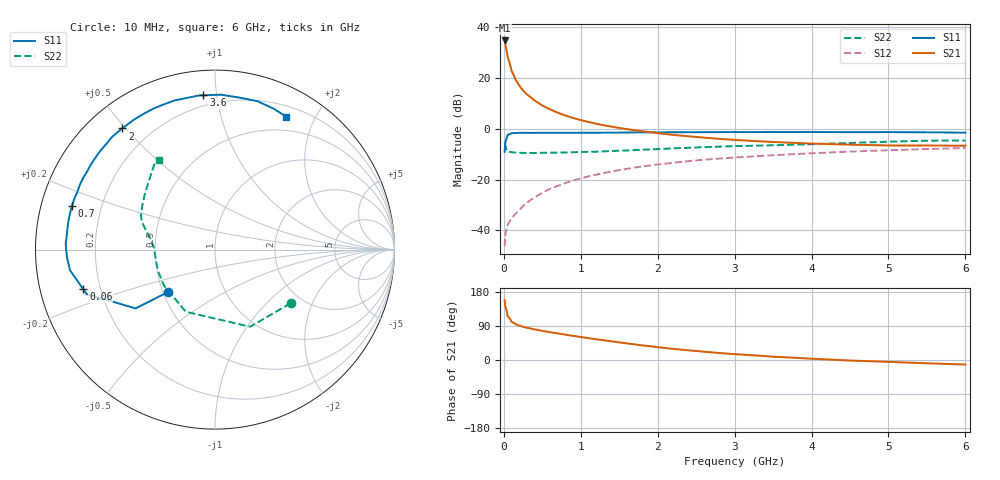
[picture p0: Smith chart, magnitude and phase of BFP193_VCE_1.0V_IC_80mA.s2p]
! Infineon Technologies  Discrete & RF Semiconductors
! BFP193
! VCE =  1.0 V,  IC =  80 mA
! Common Emitter S-Parameters:  Jan 2017
# GHz  S  MA  R  50
!  f  S11  S21  S12  S22
! GHz  MAG  ANG  MAG  ANG  MAG  ANG  MAG  ANG
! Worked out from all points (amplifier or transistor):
!   77 points, 10 MHz to 6 GHz, reference 50 ohm
!   highest |S21| = 34.7 dB at 10 MHz (marker M1)
!   |S21| within 3 dB of that: start of sweep to 29.79 MHz
!   unconditionally stable (mu >= 1): start of sweep to 13.28 MHz; 163.5 MHz to end of sweep
!   at 130 MHz: K = 0.91, MSG = 27.6 dB, |S12| = -34.2 dB
!   at 2.2 GHz: K = 1.09, MAG = 3.7 dB, |S12| = -13.4 dB
!   at 6 GHz: K = 1.07, MAG = -1.2 dB, |S12| = -7.6 dB
!   S11 on the Smith chart (normalised r, x): 10 MHz: 0.53, -0.29; 60 MHz: 0.14, -0.15; 700 MHz: 0.09, +0.15; 2 GHz: 0.10, +0.49; 3.6 GHz: 0.14, +0.92; 6 GHz: 0.32, +1.62
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0.01  0.3509 -137.8  54.55 157.8  0.0049 66.6  0.5163 -35.4
0.02  0.5509 -143.5  45.87 140.7  0.0083 58.3  0.4723 -65.5
0.05  0.7568 -160.9  25.7 114.9  0.013 46.5  0.3825 -115.1
0.06  0.7663 -163.2  23.26 113.2  0.0138 47.7  0.368 -120.5
0.1  0.8159 -171.9  13.88 100.8  0.0171 51.5  0.3477 -144.8
0.15  0.8253 -176.8  9.399 94.8  0.0211 56.7  0.3392 -156.5
0.2  0.8294 -179.9  7.079 90.7  0.0249 61.8  0.3367 -163.0
0.25  0.8325 177.5  5.675 87.6  0.0303 63.5  0.3346 -167.0
0.3  0.8298 175.5  4.735 85.1  0.0351 65.3  0.3338 -170.0
0.4  0.8306 171.9  3.576 80.7  0.0447 68.5  0.3346 -173.9
0.5  0.8319 168.6  2.867 76.9  0.0549 68.5  0.3358 -176.6
0.7  0.8336 163.0  2.073 70.2  0.0748 68.4  0.3392 179.2
0.9  0.8314 157.0  1.629 63.7  0.0958 66.4  0.345 176.5
1.1  0.8361 151.5  1.361 57.7  0.1157 64.5  0.3519 173.8
1.5  0.842 140.8  1.036 46.5  0.1535 58.8  0.3698 169.2
2  0.8499 127.4  0.82 33.9  0.1984 51.3  0.3981 164.6
2.1  0.8507 124.8  0.788 31.7  0.206 49.8  0.4045 163.5
3.1  0.8596 103.3  0.592 14.2  0.2775 35.1  0.4584 153.7
3.6  0.8621 94.3  0.541 7.7  0.3068 28.7  0.4772 147.5
4.1  0.8614 86.3  0.506 2.5  0.3344 22.2  0.5021 140.6
5.1  0.8571 72.7  0.469 -5.7  0.382 10.1  0.561 128.6
6  0.8402 61.9  0.463 -11.9  0.4175 0.0  0.5894 121.9
